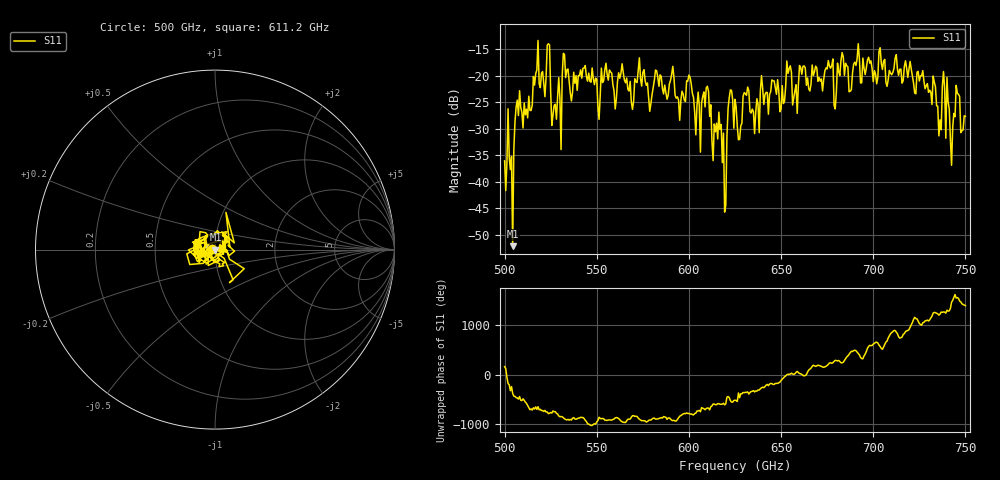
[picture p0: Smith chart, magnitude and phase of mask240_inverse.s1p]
!Created with skrf (http://scikit-rf.org).
# GHz S MA R 50.0
!freq magS11 angS11
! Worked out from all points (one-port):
!   401 points, 500 GHz to 750 GHz, reference 50 ohm
!   lowest |S11| = -52.1 dB at 504.4 GHz (marker M1), VSWR 1.00, Z = 50.2 - j0.0745 ohm
!   |S11| at or under -10 dB: start of sweep to end of sweep
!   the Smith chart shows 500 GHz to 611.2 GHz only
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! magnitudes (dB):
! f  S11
! 500 GHz  -36.0
! 504.4 GHz  -52.1
! 506.9 GHz  -24.6
! 513.8 GHz  -26.5
! 516.9 GHz  -19.6
! 523.8 GHz  -13.9
! 526.9 GHz  -25.6
! 531.2 GHz  -19.9
! 562.5 GHz  -20.5
! 579.4 GHz  -25.2
! 590.6 GHz  -19.7
! 593.8 GHz  -23.9
! 600 GHz  -19.8
! 605 GHz  -23.1
! 609.4 GHz  -22.3
! 617.5 GHz  -29.2
! 619.4 GHz  -45.7
! 622.5 GHz  -22.6
! 625 GHz  -24.4
! 656.2 GHz  -25.5
! 687.5 GHz  -22.9
! 691.2 GHz  -16.8
! 718.8 GHz  -20.3
! 735.6 GHz  -31.3
! 738.8 GHz  -22.4
! 743.1 GHz  -29.6
! 745.6 GHz  -23.3
! 750 GHz  -27.6
